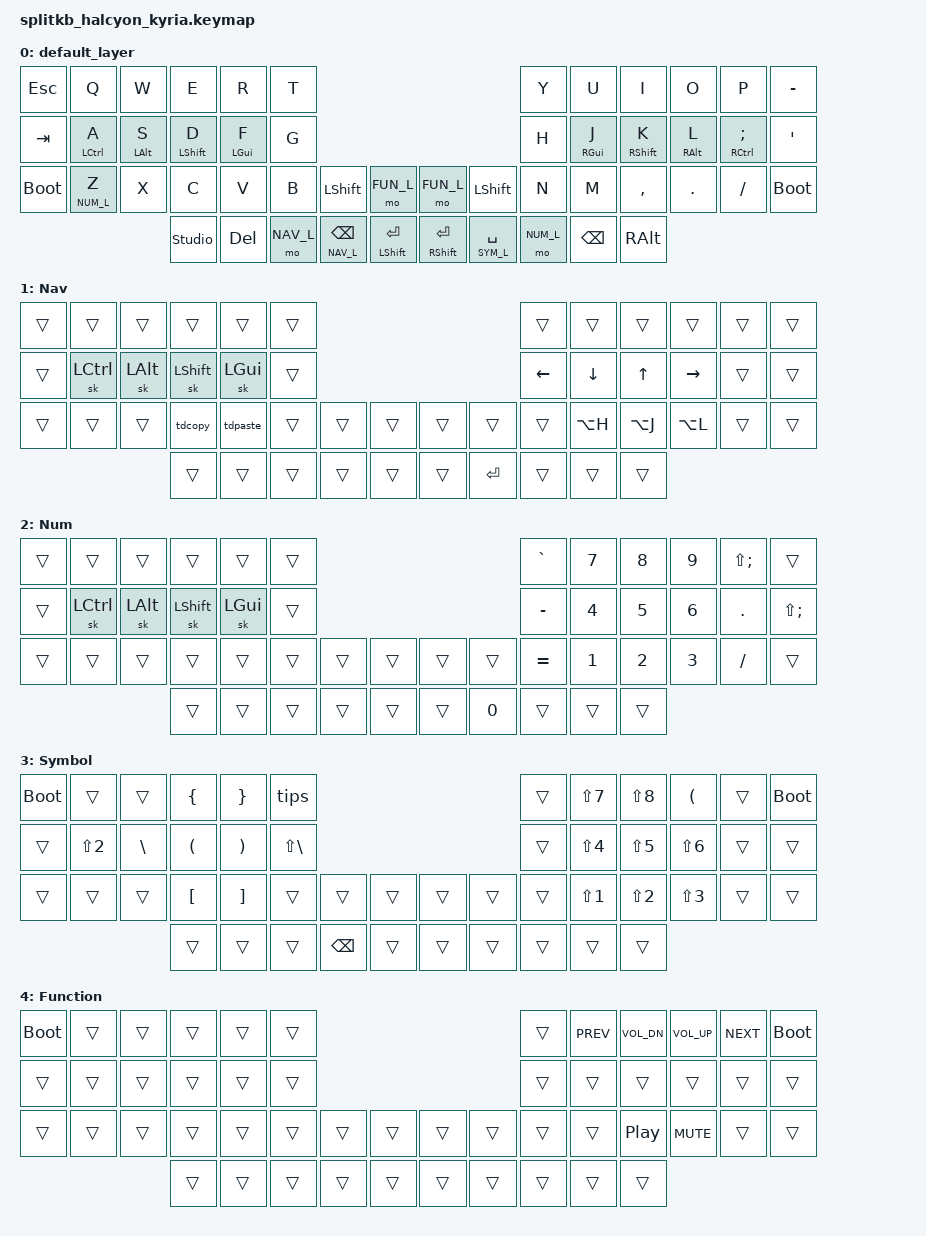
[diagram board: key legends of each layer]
/*
 * Copyright (c) 2023 The ZMK Contributors
 *
 * SPDX-License-Identifier: MIT
 */

#include <behaviors.dtsi>
#include <dt-bindings/zmk/keys.h>

#define BAS_L 0
#define NAV_L 1
#define NUM_L 2
#define SYM_L 3
#define FUN_L 4


#undef EXCL
#define EXCL LS(N1)
#undef AT
#define AT LS(N2)
#undef HASH
#define HASH LS(N3)
#undef DOLLAR
#define DOLLAR LS(N4)
#undef PERCENT
#define PERCENT LS(N5)
#undef CARET
#define CARET LS(N6)
#undef AMPS
#define AMPS LS(N7)
#undef STAR
#define STAR LS(N8)
#undef LEFT_PARENTHESIS
#define LEFT_PARENTHESIS LS(N9)
#undef COLON
#define COLON LS(SEMI)
#undef LEFT_BRACE
#define LEFT_BRACE LS(LBKT)
#undef RIGHT_BRACE
#define RIGHT_BRACE LS(RBKT)
#undef UNDS
#define UNDS LS(MINUS)
#undef PIPE
#define PIPE LS(BSLH)
#undef DQT
#define DQT LS(SINGLE_QUOTE)
#undef PLUS
#define PLUS LS(EQUAL)
#undef LT
#define LT LS(COMMA)
#undef GT
#define GT LS(DOT)

#undef TAB_LEFT
#define TAB_LEFT LG(H)
#undef TAB_RGHT
#define TAB_RGHT LG(L)
#undef MON_LEFT
#define MON_LEFT LA(H)
#undef MON_RGHT
#define MON_RGHT LA(L)
#undef MON_DOWN
#define MON_DOWN LA(J)
#undef SPC_LEFT
#define SPC_LEFT LC(LA(LEFT_ARROW))
#undef SPC_RGHT
#define SPC_RGHT LC(LA(RIGHT_ARROW))
#undef WDW_LEFT
#define WDW_LEFT LA(LEFT_ARROW)
#undef WDW_RGHT
#define WDW_RGHT LA(RIGHT_ARROW)
#undef SCRL_UP
#define SCRL_UP LA(LG(LC(UP_ARROW)))
#undef SCRL_DN
#define SCRL_DN LA(LG(LC(DOWN_ARROW)))
#undef HYPR
#define HYPR LC(LA(LS(LGUI)))
#undef MEH
#define MEH LA(LS(LCTRL))
#undef LSTHUMB
#define LSTHUMB lscw
#undef RSTHUMB
#define RSTHUMB rscw

#define LEFT_ALPHAS 1 2 3 4 5 13 14 15 16 17 25 26 27 28 29
#define RIGHT_ALPHAS 6 7 8 9 10 18 19 20 21 22 34 35 36 37 38

/* Uncomment this block if using RGB
&led_strip {
    chain-length = <6>;
    // chain-length = <31>; // Uncomment if using both per-key and underglow LEDs
    // chain-length = <25>; // Uncomment if using only per-key LEDs.
};
 */

/ {

        lhm: left_hand_homerow_mods {
            compatible = "zmk,behavior-hold-tap";
            label = "LEFT_HOMEROW_MODS";
            #binding-cells = <2>;
            tapping-term-ms = <200>;
            quick-tap-ms = <150>;
            require-prior-idle-ms = <175>;
            flavor = "tap-preferred";
            bindings = <&kp>, <&kp>;
            hold-trigger-key-positions = <RIGHT_ALPHAS 43>;
            hold-trigger-on-release;
        };

        rhm: right_hand_homerow_mods {
            compatible = "zmk,behavior-hold-tap";
            label = "RIGHT_HOMEROW_MODS";
            #binding-cells = <2>;
            tapping-term-ms = <200>;
            quick-tap-ms = <150>;
            require-prior-idle-ms = <175>;
            flavor = "tap-preferred";
            bindings = <&kp>, <&kp>;
            hold-trigger-key-positions = <LEFT_ALPHAS>;
            hold-trigger-on-release;
        };

        lshm: left_hand_shift {
            compatible = "zmk,behavior-hold-tap";
            label = "LEFT_HOMEROW_SHIFT";
            #binding-cells = <2>;
            tapping-term-ms = <175>;
            quick-tap-ms = <150>;
            require-prior-idle-ms = <125>;
            flavor = "balanced";
            bindings = <&kp>, <&kp>;
            hold-trigger-key-positions = <RIGHT_ALPHAS>;
            hold-trigger-on-release;
        };

        rshm: right_hand_shift {
            compatible = "zmk,behavior-hold-tap";
            label = "RIGHT_HOMEROW_SHIFT";
            #binding-cells = <2>;
            tapping-term-ms = <175>;
            quick-tap-ms = <150>;
            require-prior-idle-ms = <125>;
            flavor = "balanced";
            bindings = <&kp>, <&kp>;
            hold-trigger-key-positions = <LEFT_ALPHAS>;
            hold-trigger-on-release;
        };

        lhp: left_hold_preferred {
            compatible = "zmk,behavior-hold-tap";
            label = "LEFT_HOLD_PREFERRED";
            #binding-cells = <2>;
            tapping-term-ms = <200>;
            quick-tap-ms = <150>;
            flavor = "hold-preferred";
            bindings = <&kp>, <&kp>;
            hold-trigger-key-positions = <RIGHT_ALPHAS>;
            hold-trigger-on-release;
        };

        rhp: right_hold_preferred {
            compatible = "zmk,behavior-hold-tap";
            label = "RIGH_HOLD_PREFERRED";
            #binding-cells = <2>;
            tapping-term-ms = <200>;
            quick-tap-ms = <150>;
            flavor = "hold-preferred";
            bindings = <&kp>, <&kp>;
            hold-trigger-key-positions = <LEFT_ALPHAS>;
            hold-trigger-on-release;
        };

        ltt: layer_tap_preferred {
            compatible = "zmk,behavior-hold-tap";
            label = "LAYER_TAP_PREFERRED";
            #binding-cells = <2>;
            tapping-term-ms = <175>;
            quick-tap-ms = <150>;
            flavor = "tap-preferred";
            bindings = <&mo>, <&kp>;
        };

        lslm: left_hand_lower_shift {
            compatible = "zmk,behavior-hold-tap";
            label = "LEFT_LOWER_SHIFT";
            #binding-cells = <2>;
            tapping-term-ms = <200>;
            quick-tap-ms = <150>;
            flavor = "hold-preferred";
            bindings = <&kp>, <&kp>;
            hold-trigger-key-positions = <RIGHT_ALPHAS>;
            hold-trigger-on-release;
        };

        rslm: right_hand_lower_shift {
            compatible = "zmk,behavior-hold-tap";
            label = "RIGHT_LOWER_SHIFT";
            #binding-cells = <2>;
            tapping-term-ms = <200>;
            quick-tap-ms = <150>;
            flavor = "hold-preferred";
            bindings = <&kp>, <&kp>;
            hold-trigger-key-positions = <LEFT_ALPHAS>;
            hold-trigger-on-release;
        };

    tap_dances {
       shifty: shift_caps_word {
		compatible = "zmk,behavior-tap-dance";
		display-name = "Shift/CapsWord";
		#binding-cells = <0>;
		tapping-term-ms = <150>;
		bindings = <&kp LSHFT>, <&caps_word>;
	};

        tdpaste: tap_dance_paste {
            compatible = "zmk,behavior-tap-dance";
            label = "TAP_DANCE_PASTE";
            #binding-cells = <0>;
            tapping-term-ms = <250>;
            bindings = <&mt LG(LA(LS(LC(V)))) LG(V)>, <&kp LG(LC(V))>;
        };

        tdcopy: tap_dance_copy {
            compatible = "zmk,behavior-tap-dance";
            label = "TAP_DANCE_COPY";
            #binding-cells = <0>;
            tapping-term-ms = <150>;
            bindings = <&mt LG(X) LG(C)>, <&trans>;
        };

        tdsshot: tap_dance_screenshot {
            compatible = "zmk,behavior-tap-dance";
            label = "TAP_DANCE_SCREENSHOT";
            #binding-cells = <0>;
            tapping-term-ms = <150>;
            bindings = <&mt LG(LS(N3)) LG(LS(LC(N3)))>, <&trans>;
        };

        tdssnip: tap_dance_screensnip {
            compatible = "zmk,behavior-tap-dance";
            label = "TAP_DANCE_SCREENSNIP";
            #binding-cells = <0>;
            tapping-term-ms = <150>;
            bindings = <&mt LG(LS(N4)) LG(LS(LC(N4)))>, <&trans>;
        };

        tips: tips {
            label = "TIPS";
            compatible = "zmk,behavior-macro";
            #binding-cells = <0>;
            wait-ms = <10>;
            tap-ms = <20>;
            bindings
                = <&macro_tap &kp LSHIFT &kp T &kp R &kp U &kp E &kp I &kp P &kp S &kp O &kp L &kp U &kp T &kp I &kp O &kp N &kp S &kp DOT &kp C &kp O &kp M>
                ;
          };

        pass: pass {
            label = "Pass";
            compatible = "zmk,behavior-macro";
            #binding-cells = <0>;
            wait-ms = <20>;
            tap-ms = <30>;
            bindings
                = <&macro_press &kp LSFT>
                , <&macro_tap &kp M> 
                , <&macro_release &kp LSFT>
                , <&macro_tap &kp AT &kp T &kp T &kp H &kp E &kp W &kp N6 &kp N7 &kp N8 &kp N6 &kp RET>
                ;
          };

    };

    combos {
        compatible = "zmk,combos";


    combo_esc {
      timeout-ms = <50>;
      key-positions = <14 15>;
      bindings = <&kp ESC>;
      require-prior-idle-ms = <250>;
      layers = <BAS_L>;
  };

    combo_play {
      timeout-ms = <50>;
      key-positions = <26 27 28>;
      bindings = <&kp C_PLAY_PAUSE>;
      require-prior-idle-ms = <250>;
      layers = <BAS_L>;
  };

    combo_prev {
      timeout-ms = <50>;
      key-positions = <26 27>;
      bindings = <&kp C_PREV>;
      require-prior-idle-ms = <250>;
      layers = <BAS_L>;
  };

    combo_next {
      timeout-ms = <50>;
      key-positions = <27 28>;
      bindings = <&kp C_NEXT>;
      require-prior-idle-ms = <250>;
      layers = <BAS_L>;
  };

    combo_pass {
      timeout-ms = <50>;
      key-positions = <14 15 43>;
      bindings = <&pass>;
      require-prior-idle-ms = <250>;
      layers = <BAS_L>;
  };
    };

    keymap {
        compatible = "zmk,keymap";

        default_layer {
            // ---------------------------------------------------------------------------------------------------------------------------------
            // |  0   |   1  |   2  |   3   |   4   |   5   |                                  |   6   |   7   |   8    |   9   |   10   |   11  |
            // | 12   |  13  |  14  |  15   |  16   |  17   |                                  |  18   |  19   |  20    |  21   |   22   |   23  |
            // | 24   |  25  |  26  |  27   |  28   |  29   |  30  |   31   |  |   32   |  33  |  34   |  35   |  36    |  37   |   38   |   39  |
            //                     | 40     |  41   |  42   |  43  |   44   |  |   45   |  46  |  47   |  48   | 49     |
            bindings = <
            &kp ESC     &kp Q        &kp W       &kp E         &kp R       &kp T                                                                       &kp Y     &kp U       &kp I         &kp O       &kp P           &kp MINUS
            &kp TAB     &lhm LCTRL A &lhm LALT S &lshm LSHFT D &lhm LGUI F &kp G                                                                       &kp H     &rhm RGUI J &rshm RSHFT K &rhm RALT L &rhm RCTRL SEMI &kp QUOT
            &bootloader &ltt NUM_L Z &kp X       &kp C         &kp V       &kp B     &kp LSHFT       &mo FUN_L             &mo FUN_L      &kp LSHFT         &kp N     &kp M       &kp COMMA     &kp DOT     &kp FSLH        &bootloader
                                                    &studio_unlock &kp DEL &mo NAV_L &ltt NAV_L BSPC &lhp LSHFT RET        &rhp RSHFT RET &ltt SYM_L SPACE  &mo NUM_L &kp BSPC    &kp RALT
            >;

            // sensor-bindings = <&inc_dec_kp C_VOL_UP C_VOL_DN &inc_dec_kp PG_UP PG_DN>;
        };

        nav_layer {
            label = "Nav";
            bindings = <
            &trans &trans    &trans   &trans    &trans   &trans                                   &trans   &trans       &trans       &trans       &trans &trans
            &trans &sk LCTRL &sk LALT &sk LSHFT &sk LGUI &trans                                   &kp LEFT &kp DOWN     &kp UP       &kp RIGHT    &trans &trans
            &trans &trans    &trans   &tdcopy   &tdpaste &trans &trans &trans      &trans &trans  &trans   &kp MON_LEFT &kp MON_DOWN &kp MON_RGHT &trans &trans
                                       &trans   &trans   &trans &trans &trans      &trans &kp RET &trans   &trans       &trans
            >;
        };

        num_layer {
            label = "Num";
            bindings = <
            &trans &trans    &trans   &trans    &trans   &trans                                 &kp GRAVE &kp N7 &kp N8 &kp N9 &kp COLON &trans
            &trans &sk LCTRL &sk LALT &sk LSHFT &sk LGUI &trans                                 &kp MINUS &kp N4 &kp N5 &kp N6 &kp DOT   &kp COLON
            &trans &trans    &trans   &trans    &trans   &trans &trans &trans     &trans &trans &kp EQUAL &kp N1 &kp N2 &kp N3 &kp FSLH  &trans
                                      &trans    &trans   &trans &trans &trans     &trans &kp N0 &trans &trans &trans
            >;
        };

        symbol_layer {
            label = "Symbol";
            bindings = <
            &bootloader &trans &trans   &kp LBRC &kp RBRC &tips                                       &trans &kp AMPS   &kp STAR    &kp LPAR  &trans &bootloader
            &trans      &kp AT &kp BSLH &kp LPAR &kp RPAR &kp PIPE                                    &trans &kp DOLLAR &kp PERCENT &kp CARET &trans &trans
            &trans      &trans &trans   &kp LBKT &kp RBKT &trans &trans   &trans     &trans &trans    &trans &kp EXCL   &kp AT      &kp HASH  &trans &trans
                                        &trans   &trans   &trans &kp BSPC &trans     &trans  &trans   &trans &trans     &trans
            >;
        };

        function_layer {
            label = "Function";
            bindings = <
            &bootloader &trans &trans &trans &trans &trans                                  &trans &kp C_PREV &kp C_VOL_DN     &kp C_VOL_UP &kp C_NEXT &bootloader
            &trans      &trans &trans &trans &trans &trans                                  &trans &trans     &trans           &trans       &trans     &trans
            &trans      &trans &trans &trans &trans &trans &trans &trans     &trans &trans  &trans &trans     &kp C_PLAY_PAUSE &kp C_MUTE   &trans     &trans
                                      &trans &trans &trans &trans &trans     &trans  &trans &trans &trans     &trans
            >;
        };

	/*
	res_layer1 { status = "reserved"; };
	res_layer2 { status = "reserved"; };
	res_layer3 { status = "reserved"; };
	res_layer4 { status = "reserved"; };
	*/
#if 0
        function_layer {
            // ---------------------------------------------------------------------------------------------------------------------------------
            // |       |      |BT_CLR|BTSEL0|BTSEL1|BTSEL2|                                         |      |      |      |      |      |      |
            // |       |      |      |BTSEL3|BTSEL4|      |                                         |      |      |      |      |      |      |
            // |       |      |      |      |      |      |      |      |      |      |      |      |      |      |      |      |      |      |
            //                       |      |      |      |      |      |      |      |      |      |      |      |      |
            bindings = <
            &bootloader &trans &bt BT_CLR &bt BT_SEL 0 &bt BT_SEL 1 &bt BT_SEL 2              &trans &trans &trans &trans &trans &bootloader
            &trans &trans &trans     &bt BT_SEL 3 &bt BT_SEL 4 &trans                    &trans &trans &trans &trans &trans &trans
            &trans &trans &trans &trans &trans &trans &trans &trans        &trans &trans &trans &trans &trans &trans &trans &trans
                                 &trans &trans &trans &trans &trans        &trans &trans &trans &trans &trans
            >;

            // sensor-bindings = <&inc_dec_kp C_VOL_UP C_VOL_DN &inc_dec_kp PG_UP PG_DN>;
        };
#endif
    };
};
